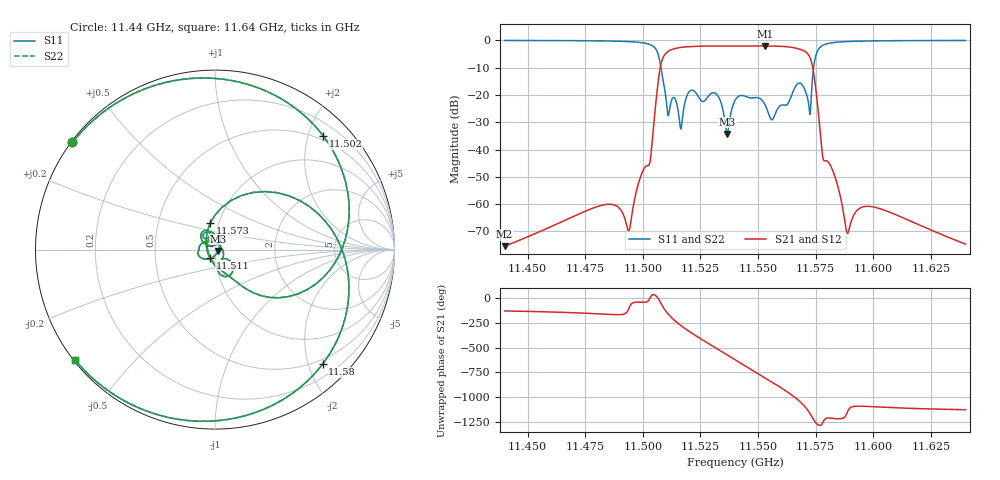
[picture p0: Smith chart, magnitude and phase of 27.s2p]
! This file was generated by CST Filter Designer 3D
! Date:  07.11.2025 16:01:55
# MHZ S RI R 50
!  Frequency  Re(S11)  Im(S11)  Re(S21)  Im(S21)  Re(S12)  Im(S12)  Re(S22)  Im(S22)
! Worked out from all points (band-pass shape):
!   1001 points, 11.44 GHz to 11.64 GHz, reference 50 ohm
!   highest |S21| = -2.08 dB at 11.553 GHz (marker M1); lowest = -75.4 dB at 11.44 GHz (marker M2)
!   |S21| within 3 dB of the highest: 11.51 GHz to 11.572 GHz (61.98 MHz wide, 0.537 % of centre)
!   lowest |S11| = -34.3 dB at 11.537 GHz (marker M3), VSWR 1.04, Z = 51.8 - j0.824 ohm
!   |S11| at or under -10 dB: 11.508 GHz to 11.574 GHz (66.28 MHz wide, 0.574 % of centre)
!   |S22| runs from -34.3 to -0.1 dB; largest |S21 - S12| = 0
!   S11 on the Smith chart (normalised r, x): 11.44 GHz: 0.00, +0.33; 11.502 GHz: 0.42, +2.26; 11.511 GHz: 0.94, -0.08; 11.573 GHz: 0.91, +0.27; 11.58 GHz: 0.41, -2.25; 11.64 GHz: 0.00, -0.35
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11440  -0.7942 0.5968  -0.000107 -0.000132  -0.000107 -0.000132  -0.7942 0.5968
11473.4  -0.5177 0.8354  -0.000601 -0.000346  -0.000601 -0.000346  -0.5177 0.8354
11493.8  0.0806 0.9439  -0.000114 -0.000301  -0.000114 -0.000301  0.0806 0.9439
11501.6  0.6025 0.6338  0.00396 -0.0031  0.00396 -0.0031  0.6025 0.6338
11506.8  0.4624 -0.2468  0.1939 -0.0264  0.1939 -0.0264  0.4624 -0.2468
11510.6  -0.0276 -0.0445  -0.5233 -0.3089  -0.5233 -0.3089  -0.0276 -0.0445
11516  0.00964 0.0291  -0.0292 0.7356  -0.0292 0.7356  0.00964 0.0291
11521.8  -0.0569 0.1067  0.7701 -0.0256  0.7701 -0.0256  -0.0569 0.1067
11528.6  -0.0658 0.0711  -0.1434 -0.7707  -0.1434 -0.7707  -0.0658 0.0711
11536.6  0.0176 -0.00795  -0.649 0.4404  -0.649 0.4404  0.0176 -0.00795
11540  -0.0585 -0.0528  -0.0958 0.7766  -0.0958 0.7766  -0.0585 -0.0528
11546.6  -0.0882 -0.0035  0.7843 0.0426  0.7843 0.0426  -0.0882 -0.0035
11553.2  -0.0426 0.0476  0.00865 -0.7872  0.00865 -0.7872  -0.0426 0.0476
11559.2  0.0454 -0.0411  -0.775 -0.0673  -0.775 -0.0673  0.0454 -0.0411
11564.6  0.0792 -0.0602  -0.126 0.733  -0.126 0.733  0.0792 -0.0602
11569.4  0.0376 -0.1439  0.6547 0.0609  0.6547 0.0609  0.0376 -0.1439
11573.4  -0.027 0.1466  -0.1934 -0.3148  -0.1934 -0.3148  -0.027 0.1466
11578  0.7384 -0.3169  -0.00786 0.000501  -0.00786 0.000501  0.7384 -0.3169
11580.4  0.5997 -0.6377  -0.00414 -0.00429  -0.00414 -0.00429  0.5997 -0.6377
11588.8  0.0552 -0.9485  8.43e-05 -0.000277  8.43e-05 -0.000277  0.0552 -0.9485
11606.8  -0.4805 -0.8556  0.000643 -0.000329  0.000643 -0.000329  -0.4805 -0.8556
11640  -0.7806 -0.6138  0.00012 -0.000142  0.00012 -0.000142  -0.7806 -0.6138
